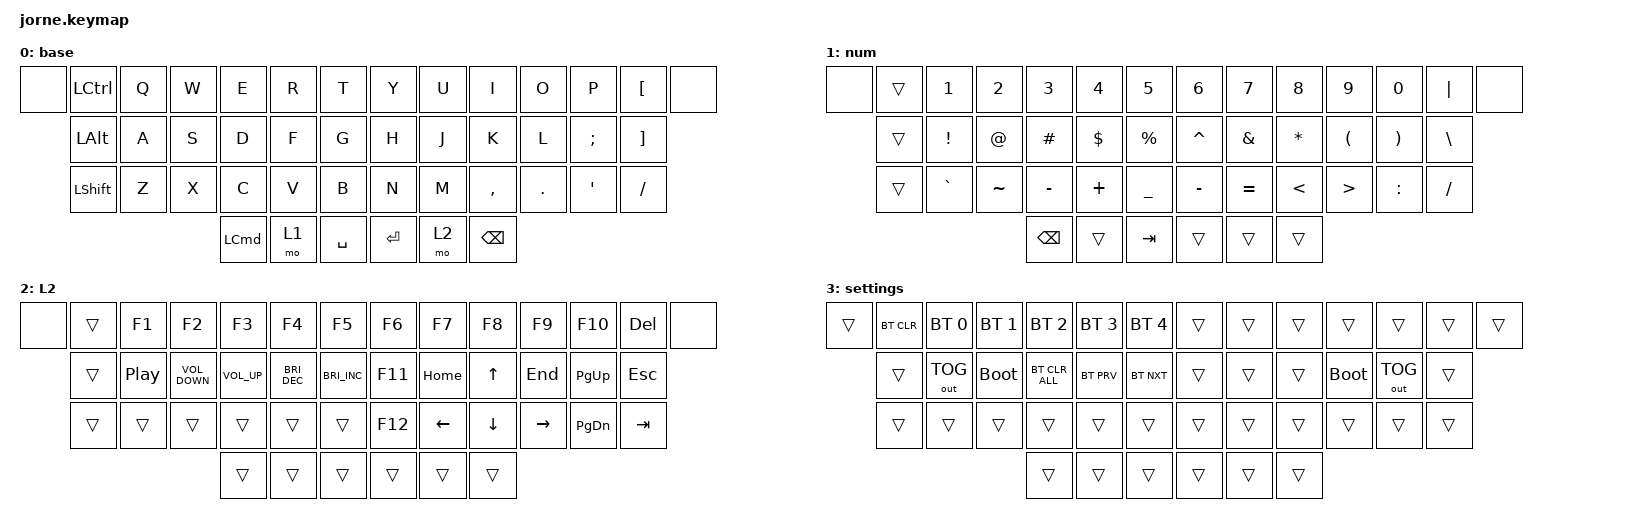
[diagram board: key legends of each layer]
/*
 * Copyright (c) 2020 The ZMK Contributors
 *
 * SPDX-License-Identifier: MIT
 */

#include <behaviors.dtsi>
#include <dt-bindings/zmk/bt.h>
#include <dt-bindings/zmk/keys.h>
#include <dt-bindings/zmk/outputs.h>

/ {
    combos {
        compatible = "zmk,combos";

        game_esc {
            bindings = <&kp ESC>;
            key-positions = <2 3>;
            layers = <0>;
        };

        lang_switch {
            bindings = <&kp F19>;
            key-positions = <30 29>;
            layers = <0>;
        };

        l3_on {
            bindings = <&sl 3>;
            key-positions = <39 42>;
            layers = <0>;
        };

        backspace_right {
            bindings = <&kp BACKSPACE>;
            key-positions = <30 31>;
            layers = <0>;
        };

        tab_right {
            bindings = <&kp TAB>;
            key-positions = <18 19>;
            layers = <0>;
        };
    };

    keymap {
        compatible = "zmk,keymap";

        base {
            // Jorne: 44 keys (positions 0 and 13 are extra outer keys, not present physically)
            // -----------------------------------------------------------------------------------------
            // | x |  ESC |  Q  |  W  |  E  |  R  |  T  |   |  Y  |  U   |  I  |  O  |  P  | BKSP | x |
            //     | TAB  |  A  |  S  |  D  |  F  |  G  |   |  H  |  J   |  K  |  L  |  '  |  '   |
            //     | SHFT |  Z  |  X  |  C  |  V  |  B  |   |  N  |  M   |  ,  |  .  |  /  | SHFT |
            //                        | GUI | LWR | SPC |   | ENT | RSE  | ALT |

            bindings = <
&none  &kp LCTRL       &kp Q  &kp W  &kp E             &kp R  &kp T        &kp Y      &kp U  &kp I          &kp O    &kp P          &kp LEFT_BRACKET   &none
       &kp LEFT_ALT    &kp A  &kp S  &kp D             &kp F  &kp G        &kp H      &kp J  &kp K          &kp L    &kp SEMICOLON  &kp RIGHT_BRACKET
       &kp LEFT_SHIFT  &kp Z  &kp X  &kp C             &kp V  &kp B        &kp N      &kp M  &kp COMMA      &kp DOT  &kp SQT        &kp FSLH
                                     &kp LEFT_COMMAND  &mo 1  &kp SPACE    &kp ENTER  &mo 2  &kp BACKSPACE
            >;
        };

        num {
            bindings = <
&none  &trans  &kp N1           &kp N2       &kp N3         &kp N4      &kp N5         &kp N6     &kp N7         &kp N8         &kp N9                &kp N0                 &kp PIPE       &none
       &trans  &kp EXCLAMATION  &kp AT_SIGN  &kp HASH       &kp DOLLAR  &kp PERCENT    &kp CARET  &kp AMPERSAND  &kp ASTERISK   &kp LEFT_PARENTHESIS  &kp RIGHT_PARENTHESIS  &kp BACKSLASH
       &trans  &kp GRAVE        &kp TILDE    &kp MINUS      &kp PLUS    &kp UNDER      &kp MINUS  &kp EQUAL      &kp LESS_THAN  &kp GREATER_THAN      &kp COLON              &kp SLASH
                                             &kp BACKSPACE  &trans      &kp TAB        &trans     &trans         &trans
            >;
        };

        L2 {
            bindings = <
&none  &trans  &kp F1    &kp F2             &kp F3           &kp F4                &kp F5                  &kp F6   &kp F7          &kp F8          &kp F9           &kp F10        &kp DEL     &none
       &trans  &kp C_PP  &kp C_VOLUME_DOWN  &kp C_VOLUME_UP  &kp C_BRIGHTNESS_DEC  &kp C_BRIGHTNESS_INC    &kp F11  &kp HOME        &kp UP_ARROW    &kp END          &kp PAGE_UP    &kp ESCAPE
       &trans  &trans    &trans             &trans           &trans                &trans                  &kp F12  &kp LEFT_ARROW  &kp DOWN_ARROW  &kp RIGHT_ARROW  &kp PAGE_DOWN  &kp TAB
                                            &trans           &trans                &trans                  &trans   &trans          &trans
            >;
        };

        settings {
            bindings = <
&trans  &bt BT_CLR  &bt BT_SEL 0  &bt BT_SEL 1  &bt BT_SEL 2    &bt BT_SEL 3  &bt BT_SEL 4    &trans  &trans  &trans  &trans       &trans        &trans  &trans
        &trans      &out OUT_TOG  &bootloader   &bt BT_CLR_ALL  &bt BT_PRV    &bt BT_NXT      &trans  &trans  &trans  &bootloader  &out OUT_TOG  &trans
        &trans      &trans        &trans        &trans          &trans        &trans          &trans  &trans  &trans  &trans       &trans        &trans
                                                &trans          &trans        &trans          &trans  &trans  &trans
            >;
        };
    };
};
